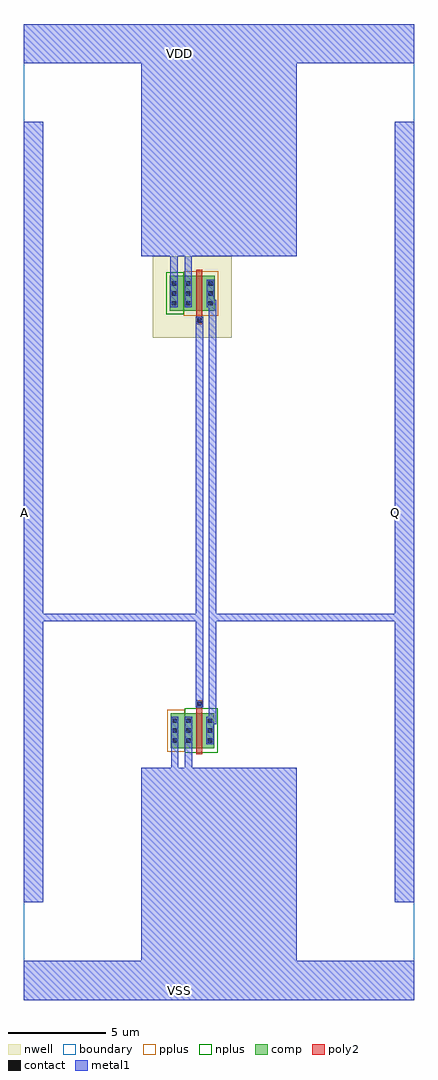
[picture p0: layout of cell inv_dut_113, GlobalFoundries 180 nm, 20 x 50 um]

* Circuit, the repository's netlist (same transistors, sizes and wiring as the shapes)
* inv_dut_113: pfet_03v3 W=1.80u L=0.30u / nfet_03v3 W=1.80u L=0.30u
.SUBCKT inv_dut_113 A Q VDD VSS
MMP Q A VDD VDD pfet_03v3 W=1.80u L=0.30u
MMN Q A VSS VSS nfet_03v3 W=1.80u L=0.30u
.ENDS

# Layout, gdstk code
import gdstk
lib = gdstk.Library(unit=1e-6, precision=1e-09)
def R(c, l, rs):  # rectangles x0, y0, x1, y1
    for r in rs: c.add(gdstk.rectangle(r[:2], r[2:], *l))
def A(c, l, x, y, w, h, nx, ny, dx, dy):  # array of equal rectangles
    R(c, l, [(x+i*dx, y+j*dy, x+i*dx+w, y+j*dy+h) for i in range(nx) for j in range(ny)])
def P(c, l, *ps):  # polygons
    for p in ps: c.add(gdstk.Polygon(p, *l))
boundary = (0, 0)
nwell = (21, 0)
comp = (22, 0)
poly2 = (30, 0)
pplus = (31, 0)
nplus = (32, 0)
contact = (33, 0)
metal1 = (34, 0)

inv_dut_113 = lib.new_cell('inv_dut_113')
R(inv_dut_113, boundary, [(-10,-25,10,25)])
R(inv_dut_113, nwell, [(-3.395,8.93,0.655,13.09)])
R(inv_dut_113, comp, [(-2.475,-12.1,-0.245,-10.3), (-2.535,10.3,-0.205,12.1)])
P(inv_dut_113, poly2, [(-1.155,-12.4),(-1.155,-10),(-1.185,-10),(-1.185,-9.64),(-0.825,-9.64),(-0.825,-10),(-0.855,-10),(-0.855,-12.4)],
  [(-1.195,9.62),(-1.195,10),(-1.155,10),(-1.155,12.4),(-0.855,12.4),(-0.855,10),(-0.815,10),(-0.815,9.62)])
R(inv_dut_113, pplus, [(-2.645,-12.27,-1.765,-10.13), (-1.805,10.06,-0.035,12.34)])
R(inv_dut_113, nplus, [(-1.765,-12.34,-0.075,-10.06), (-2.705,10.13,-1.805,12.27)])
A(inv_dut_113, contact, -2.375, -11.82, 0.22, 0.22, 1, 3, 0, 0.51)
A(inv_dut_113, contact, -1.665, -11.82, 0.22, 0.22, 1, 3, 0, 0.51)
A(inv_dut_113, contact, -0.565, -11.82, 0.22, 0.22, 1, 3, 0, 0.51)
A(inv_dut_113, contact, -2.415, 10.58, 0.22, 0.22, 1, 3, 0, 0.51)
A(inv_dut_113, contact, -1.685, 10.58, 0.22, 0.22, 1, 3, 0, 0.51)
A(inv_dut_113, contact, -0.545, 10.58, 0.22, 0.22, 1, 3, 0, 0.51)
R(inv_dut_113, contact, [(-1.115,-9.93,-0.895,-9.71), (-1.115,9.7,-0.895,9.92)])
R(inv_dut_113, metal1, [(-10,-25,10,-23), (-3.995,-23,3.995,-13.4), (-10,-20,-9,20), (9,-20,10,20), (-3.995,-13.7,3.995,-13.1), (-2.455,-13.7,-2.075,-10.5), (-1.745,-13.7,-1.365,-10.5), (-2.455,-11.9,-2.075,-10.5), (-1.745,-11.9,-1.365,-10.5), (-0.645,-11.9,-0.265,-10.5), (-0.645,-10.88,-0.135,-10.5), (-0.515,-10.88,-0.135,10.88), (-1.195,-10.01,-0.815,10), (-1.195,-10.01,-0.815,-9.63), (-9,-5.6,-3.695,-5.2), (-3.995,-5.6,-0.815,-5.2), (-0.515,-5.6,3.995,-5.2), (3.695,-5.6,9,-5.2), (-1.195,9.62,-0.815,10), (-2.495,10.5,-2.115,13.7), (-2.495,10.5,-2.115,11.9), (-1.765,10.5,-1.385,13.7), (-1.765,10.5,-1.385,11.9), (-0.625,10.5,-0.135,10.88), (-0.625,10.5,-0.245,11.9), (-3.995,13.1,3.995,13.7), (-3.995,13.4,3.995,23), (-10,23,10,25)])
inv_dut_113.add(gdstk.Label('VDD', (-2,23.5), layer=34, texttype=10))
inv_dut_113.add(gdstk.Label('VSS', (-2,-24.5), layer=34, texttype=10))
inv_dut_113.add(gdstk.Label('A', (-9.97,0), layer=34, texttype=10))
inv_dut_113.add(gdstk.Label('Q', (9.03,0), layer=34, texttype=10))

lib.write_gds('inv_dut_113.gds')
